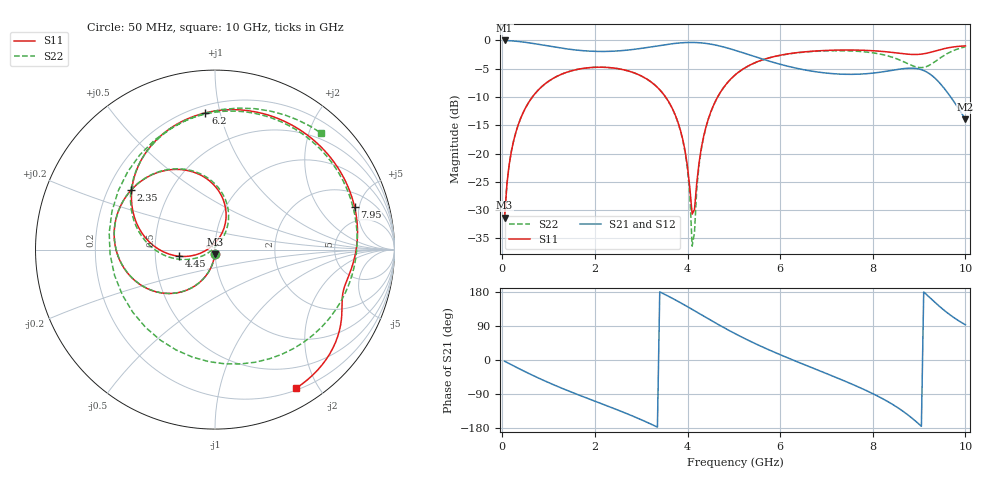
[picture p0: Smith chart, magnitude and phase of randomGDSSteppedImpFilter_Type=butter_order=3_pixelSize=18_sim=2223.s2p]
! freq	dB(S11)	phase(S11)	dB(S12)	phase(S12)
!  dB(S21)	phase(S21)	dB(S22)	phase(S22)
!S-par simulation data
#  GHz  S  DB  R 50
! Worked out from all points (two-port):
!   200 points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, 50 MHz to 10 GHz, reference 50 ohm
!   highest |S21| = -0.01 dB at 50 MHz (marker M1); lowest = -13.9 dB at 10 GHz (marker M2)
!   |S21| within 3 dB of the highest: start of sweep to 5.505 GHz
!   lowest |S11| = -31.4 dB at 50 MHz (marker M3), VSWR 1.06, Z = 49.8 - j2.69 ohm
!   |S11| at or under -10 dB: start of sweep to 650.4 MHz; 3.525 GHz to 4.65 GHz (1.125 GHz wide, 27.5 % of centre)
!   |S22| runs from -36.4 to -1.1 dB; largest |S21 - S12| = 0
!   S11 on the Smith chart (normalised r, x): 50 MHz: 1.00, -0.05; 2.35 GHz: 0.30, +0.29; 4.45 GHz: 0.67, -0.05; 6.2 GHz: 0.25, +0.90; 7.95 GHz: 3.21, +4.49; 10 GHz: 0.22, -1.72
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0.05  -31.37 -93.3  -0.01 -3.2  -0.01 -3.2  -31.37 -93.3
0.2  -19.44 -103.2  -0.07 -12.8  -0.07 -12.8  -19.44 -103.2
0.5  -11.95 -121.8  -0.34 -31.2  -0.34 -31.2  -11.96 -121.8
1.05  -6.95 -152.8  -1.06 -62.3  -1.06 -62.3  -6.95 -152.9
1.75  -4.94 172.7  -1.82 -97.0  -1.82 -97.0  -4.94 172.4
2.35  -4.83 144.8  -1.92 -125.1  -1.92 -125.1  -4.83 144.4
3.4  -8.73 91.8  -0.90 179.8  -0.90 179.8  -8.74 89.9
3.9  -17.61 67.3  -0.40 147.6  -0.40 147.6  -17.75 60.1
4.05  -26.13 77.7  -0.36 137.2  -0.36 137.2  -27.35 56.8
4.1  -30.71 108.7  -0.36 133.6  -0.36 133.6  -36.38 83.9
4.25  -21.55 -166.0  -0.41 123.0  -0.41 123.0  -21.96 -153.3
4.45  -13.86 -169.4  -0.59 108.7  -0.59 108.7  -13.93 -164.2
5.05  -5.95 155.1  -1.80 68.0  -1.80 68.0  -5.96 156.6
6.2  -2.34 94.0  -4.64 3.8  -4.64 3.8  -2.37 92.1
6.7  -1.90 70.9  -5.46 -21.0  -5.46 -21.0  -1.95 66.4
7.4  -1.69 40.1  -5.99 -55.9  -5.99 -55.9  -1.83 28.7
7.95  -1.80 17.0  -5.83 -85.8  -5.83 -85.8  -2.14 -6.6
8.35  -2.06 1.1  -5.38 -111.5  -5.38 -111.5  -2.79 -40.8
8.8  -2.46 -13.8  -4.90 -148.8  -4.90 -148.8  -4.27 -101.9
9.2  -2.20 -24.2  -5.76 168.2  -5.76 168.2  -4.48 171.0
9.6  -1.35 -39.9  -9.08 125.5  -9.08 125.5  -2.36 94.4
10  -0.97 -59.6  -13.92 92.9  -13.92 92.9  -1.13 47.8
